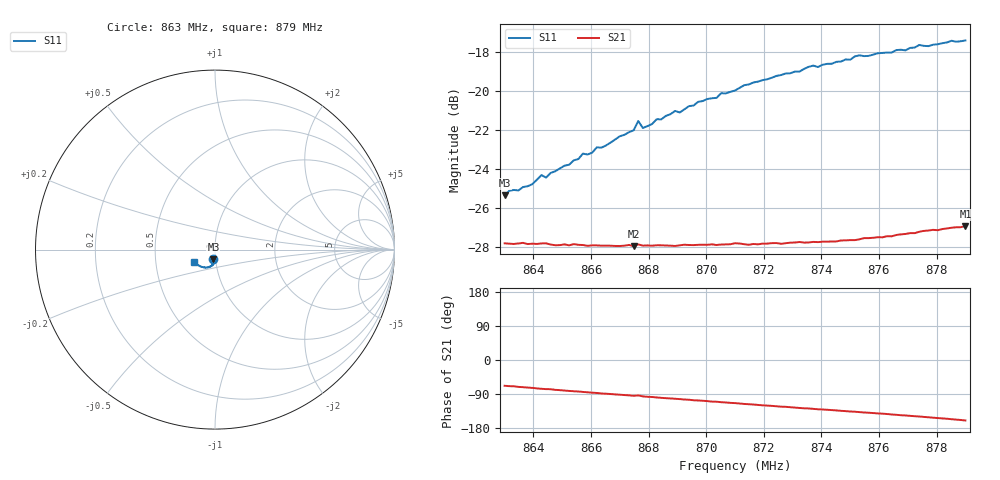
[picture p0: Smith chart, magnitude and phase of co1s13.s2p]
# HZ S RI R 50
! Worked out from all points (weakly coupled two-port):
!   101 points, 863 MHz to 879 MHz, reference 50 ohm
!   highest |S21| = -26.95 dB at 879 MHz (marker M1); lowest = -28.0 dB at 867.48 MHz (marker M2)
!   lowest |S11| = -25.4 dB at 863 MHz (marker M3), VSWR 1.11, Z = 48.9 - j5.22 ohm
!   |S11| at or under -10 dB: start of sweep to end of sweep
!   S12 and S22 are empty: the file has one direction only
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8.63e8  -0.00849 -0.0532  0.0152 -0.0376  0 0  0 0
8.6316e8  -0.00817 -0.0548  0.0145 -0.0378  0 0  0 0
8.6396e8  -0.00419 -0.0575  0.0114 -0.0389  0 0  0 0
8.6428e8  -0.00351 -0.0607  0.0098 -0.0394  0 0  0 0
8.6444e8  -0.00498 -0.0597  0.00924 -0.0395  0 0  0 0
8.6572e8  -0.0039 -0.0689  0.004 -0.04  0 0  0 0
8.6604e8  -0.00434 -0.0693  0.00263 -0.04  0 0  0 0
8.662e8  -0.00463 -0.0715  0.00211 -0.04  0 0  0 0
8.6636e8  -0.00604 -0.0713  0.00117 -0.04  0 0  0 0
8.6748e8  -0.00878 -0.0788  -0.00315 -0.0398  0 0  0 0
8.6764e8  -0.0142 -0.0826  -0.00245 -0.0403  0 0  0 0
8.678e8  -0.00918 -0.0798  -0.00416 -0.0398  0 0  0 0
8.6844e8  -0.0123 -0.0837  -0.00688 -0.0395  0 0  0 0
8.6972e8  -0.0201 -0.0917  -0.0116 -0.0385  0 0  0 0
8.71e8  -0.0304 -0.0956  -0.0163 -0.0372  0 0  0 0
8.7132e8  -0.0345 -0.0977  -0.0177 -0.0363  0 0  0 0
8.7372e8  -0.0585 -0.1005  -0.0257 -0.0318  0 0  0 0
8.7388e8  -0.0594 -0.0989  -0.0263 -0.0313  0 0  0 0
8.7532e8  -0.0772 -0.0965  -0.0306 -0.0281  0 0  0 0
8.7644e8  -0.089 -0.0888  -0.0341 -0.025  0 0  0 0
8.774e8  -0.1017 -0.0834  -0.0373 -0.0223  0 0  0 0
8.79e8  -0.1168 -0.0678  -0.0422 -0.0156  0 0  0 0
